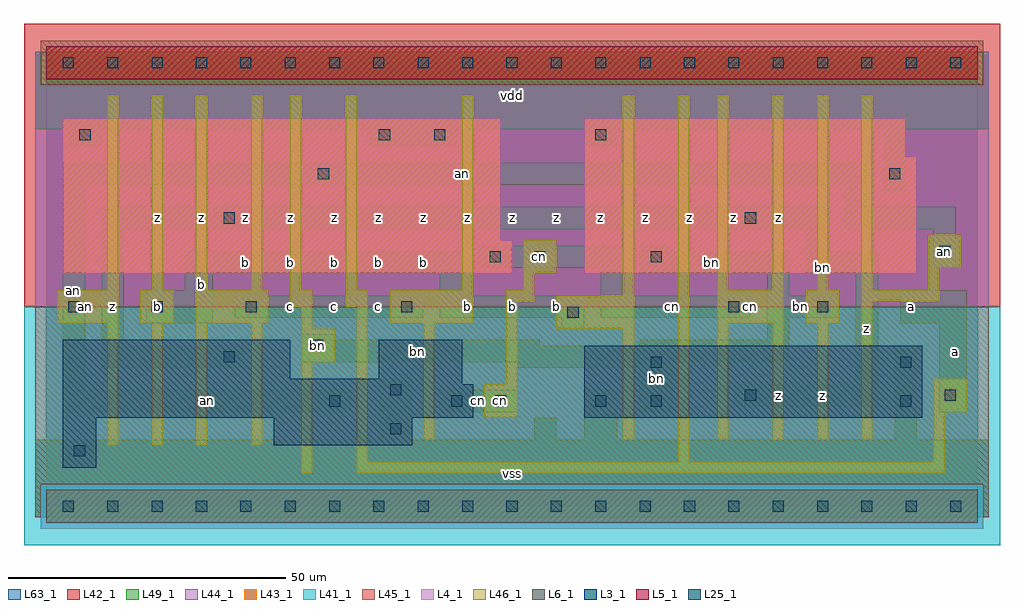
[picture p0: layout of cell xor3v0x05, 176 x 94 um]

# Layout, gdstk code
import gdstk
lib = gdstk.Library(unit=1e-6, precision=1e-09)
def R(c, l, rs):  # rectangles x0, y0, x1, y1
    for r in rs: c.add(gdstk.rectangle(r[:2], r[2:], *l))
def A(c, l, x, y, w, h, nx, ny, dx, dy):  # array of equal rectangles
    R(c, l, [(x+i*dx, y+j*dy, x+i*dx+w, y+j*dy+h) for i in range(nx) for j in range(ny)])
L3_1 = (3, 1)
L4_1 = (4, 1)
L5_1 = (5, 1)
L6_1 = (6, 1)
L25_1 = (25, 1)
L41_1 = (41, 1)
L42_1 = (42, 1)
L43_1 = (43, 1)
L44_1 = (44, 1)
L45_1 = (45, 1)
L46_1 = (46, 1)
L49_1 = (49, 1)
L63_1 = (63, 1)

xor3v0x05 = lib.new_cell('xor3v0x05')
R(xor3v0x05, L3_1, [(3,7,9,16), (41,11,66,16), (3,16,77,22), (97,16,158,29), (3,22,75,23), (3,23,44,30), (60,23,75,30)])
R(xor3v0x05, L4_1, [(3,42,84,48), (97,42,157,63), (3,48,82,70), (97,63,155,70)])
R(xor3v0x05, L5_1, [(0,77,168,83)])
R(xor3v0x05, L6_1, [(0,-3,168,3), (0,-3,168,3)])
A(xor3v0x05, L25_1, 3, -1, 2, 2, 21, 2, 8, 80)
R(xor3v0x05, L25_1, [(5,9,7,11), (62,13,64,15), (51,18,53,20), (73,18,75,20), (81,18,83,20), (99,18,101,20), (109,18,111,20), (154,18,156,20), (126,19,128,21), (162,19,164,21), (62,20,64,22), (109,25,111,27), (154,25,156,27), (32,26,34,28), (48,28,50,30), (94,34,96,36), (4,35,6,37), (19,35,21,37), (36,35,38,37), (64,35,66,37), (123,35,125,37), (139,35,141,37), (80,44,82,46), (88,44,90,46), (109,44,111,46), (161,45,163,47), (32,51,34,53), (126,51,128,53), (49,59,51,61), (152,59,154,61), (6,66,8,68), (60,66,62,68), (70,66,72,68), (99,66,101,68)])
R(xor3v0x05, L41_1, [(-4,-7,172,36)])
R(xor3v0x05, L42_1, [(-4,36,172,87)])
R(xor3v0x05, L43_1, [(0,-3,168,3), (3,7,9,16), (41,11,66,16), (3,16,77,22), (97,16,158,29), (3,22,75,23), (3,23,44,30), (60,23,75,30), (3,42,84,48), (97,42,157,63), (3,48,82,70), (97,63,155,70), (0,77,168,83)])
R(xor3v0x05, L44_1, [(-1,-4,169,4), (-2,36,170,76), (-2,76,-1,82), (169,76,170,82)])
R(xor3v0x05, L45_1, [(-2,-2,-1,4), (169,-2,170,4), (-2,4,170,36), (-1,76,169,84)])
A(xor3v0x05, L46_1, 11, 11, 2, 22, 3, 1, 8, 0)
A(xor3v0x05, L46_1, 11, 39, 2, 35, 3, 1, 8, 0)
A(xor3v0x05, L46_1, 131, 39, 2, 35, 3, 1, 8, 0)
R(xor3v0x05, L46_1, [(46,6,48,26), (56,6,162,8), (56,8,58,36), (114,8,116,74), (160,8,162,17), (37,11,39,33), (68,12,70,33), (104,12,106,32), (121,12,123,33), (131,12,133,33), (139,12,141,33), (147,12,149,37), (79,16,85,22), (160,17,166,23), (83,22,85,37), (46,26,52,32), (46,32,48,36), (92,32,106,38), (2,33,13,39), (17,33,23,39), (27,33,40,39), (62,33,77,39), (121,33,133,39), (137,33,143,39), (44,36,48,39), (54,36,58,39), (83,37,88,39), (147,37,161,39), (104,38,106,74), (37,39,39,74), (44,39,46,74), (54,39,56,74), (75,39,77,74), (86,39,88,42), (121,39,123,74), (159,39,161,43), (86,42,92,48), (159,43,165,49)])
R(xor3v0x05, L49_1, [(-2,-2,170,12), (60,12,66,23), (88,12,92,16), (97,12,103,21), (153,12,157,29), (3,17,55,21), (71,17,85,21), (107,17,113,25), (161,17,166,33), (124,18,150,22), (3,21,7,58), (146,22,150,42), (10,25,36,29), (85,25,113,26), (46,26,134,29), (10,29,14,50), (46,29,89,30), (107,29,134,30), (46,30,52,31), (130,30,134,34), (93,32,97,34), (18,33,30,39), (154,33,166,39), (34,34,68,38), (71,34,97,38), (100,34,127,38), (130,34,143,38), (71,38,75,42), (100,38,104,43), (130,38,134,42), (25,39,30,42), (25,42,75,46), (107,42,134,46), (137,42,150,46), (78,43,104,47), (160,43,164,50), (107,46,113,47), (137,46,141,50), (10,50,141,54), (144,50,164,54), (144,54,148,58), (151,57,155,68), (3,58,148,62), (4,65,10,68), (58,65,74,68), (97,65,103,68), (-2,68,170,82)])
R(xor3v0x05, L63_1, [(0,0,168,80)])
xor3v0x05.add(gdstk.Label('an', (7,36), layer=46, texttype=1))
xor3v0x05.add(gdstk.Label('bn', (49,29), layer=49, texttype=1))
xor3v0x05.add(gdstk.Label('cn', (82,19), layer=49, texttype=1))
xor3v0x05.add(gdstk.Label('cn', (89,45), layer=49, texttype=1))
xor3v0x05.add(gdstk.Label('cn', (127,36), layer=46, texttype=1))
xor3v0x05.add(gdstk.Label('an', (162,46), layer=49, texttype=1))
xor3v0x05.add(gdstk.Label('bn', (140,43), layer=46, texttype=1))
xor3v0x05.add(gdstk.Label('b', (20,36), layer=49, texttype=1))
xor3v0x05.add(gdstk.Label('z', (12,36), layer=49, texttype=1))
xor3v0x05.add(gdstk.Label('z', (20,52), layer=49, texttype=1))
xor3v0x05.add(gdstk.Label('an', (5,39), layer=49, texttype=1))
xor3v0x05.add(gdstk.Label('c', (44,36), layer=49, texttype=1))
xor3v0x05.add(gdstk.Label('c', (52,36), layer=49, texttype=1))
xor3v0x05.add(gdstk.Label('b', (52,44), layer=49, texttype=1))
xor3v0x05.add(gdstk.Label('b', (44,44), layer=49, texttype=1))
xor3v0x05.add(gdstk.Label('b', (36,44), layer=49, texttype=1))
xor3v0x05.add(gdstk.Label('b', (28,40), layer=49, texttype=1))
xor3v0x05.add(gdstk.Label('z', (28,52), layer=49, texttype=1))
xor3v0x05.add(gdstk.Label('z', (52,52), layer=49, texttype=1))
xor3v0x05.add(gdstk.Label('z', (44,52), layer=49, texttype=1))
xor3v0x05.add(gdstk.Label('z', (36,52), layer=49, texttype=1))
xor3v0x05.add(gdstk.Label('an', (29,19), layer=49, texttype=1))
xor3v0x05.add(gdstk.Label('b', (76,36), layer=49, texttype=1))
xor3v0x05.add(gdstk.Label('c', (60,36), layer=49, texttype=1))
xor3v0x05.add(gdstk.Label('b', (60,44), layer=49, texttype=1))
xor3v0x05.add(gdstk.Label('b', (68,44), layer=49, texttype=1))
xor3v0x05.add(gdstk.Label('z', (68,52), layer=49, texttype=1))
xor3v0x05.add(gdstk.Label('z', (76,52), layer=49, texttype=1))
xor3v0x05.add(gdstk.Label('z', (60,52), layer=49, texttype=1))
xor3v0x05.add(gdstk.Label('vss', (84,6), layer=49, texttype=1))
xor3v0x05.add(gdstk.Label('cn', (78,19), layer=49, texttype=1))
xor3v0x05.add(gdstk.Label('bn', (67,28), layer=49, texttype=1))
xor3v0x05.add(gdstk.Label('b', (84,36), layer=49, texttype=1))
xor3v0x05.add(gdstk.Label('b', (92,36), layer=49, texttype=1))
xor3v0x05.add(gdstk.Label('z', (84,52), layer=49, texttype=1))
xor3v0x05.add(gdstk.Label('cn', (91,45), layer=49, texttype=1))
xor3v0x05.add(gdstk.Label('z', (100,52), layer=49, texttype=1))
xor3v0x05.add(gdstk.Label('z', (108,52), layer=49, texttype=1))
xor3v0x05.add(gdstk.Label('z', (92,52), layer=49, texttype=1))
xor3v0x05.add(gdstk.Label('vdd', (84,74), layer=49, texttype=1))
xor3v0x05.add(gdstk.Label('z', (132,20), layer=49, texttype=1))
xor3v0x05.add(gdstk.Label('bn', (110,23), layer=49, texttype=1))
xor3v0x05.add(gdstk.Label('cn', (113,36), layer=49, texttype=1))
xor3v0x05.add(gdstk.Label('bn', (120,44), layer=49, texttype=1))
xor3v0x05.add(gdstk.Label('z', (116,52), layer=49, texttype=1))
xor3v0x05.add(gdstk.Label('z', (132,52), layer=49, texttype=1))
xor3v0x05.add(gdstk.Label('z', (124,52), layer=49, texttype=1))
xor3v0x05.add(gdstk.Label('z', (140,20), layer=49, texttype=1))
xor3v0x05.add(gdstk.Label('a', (164,28), layer=49, texttype=1))
xor3v0x05.add(gdstk.Label('bn', (136,36), layer=49, texttype=1))
xor3v0x05.add(gdstk.Label('a', (156,36), layer=49, texttype=1))
xor3v0x05.add(gdstk.Label('z', (148,32), layer=49, texttype=1))
xor3v0x05.add(gdstk.Label('z', (140,44), layer=49, texttype=1))
xor3v0x05.add(gdstk.Label('an', (162,48), layer=49, texttype=1))
xor3v0x05.add(gdstk.Label('an', (75,60), layer=49, texttype=1))

lib.write_gds('xor3v0x05.gds')
